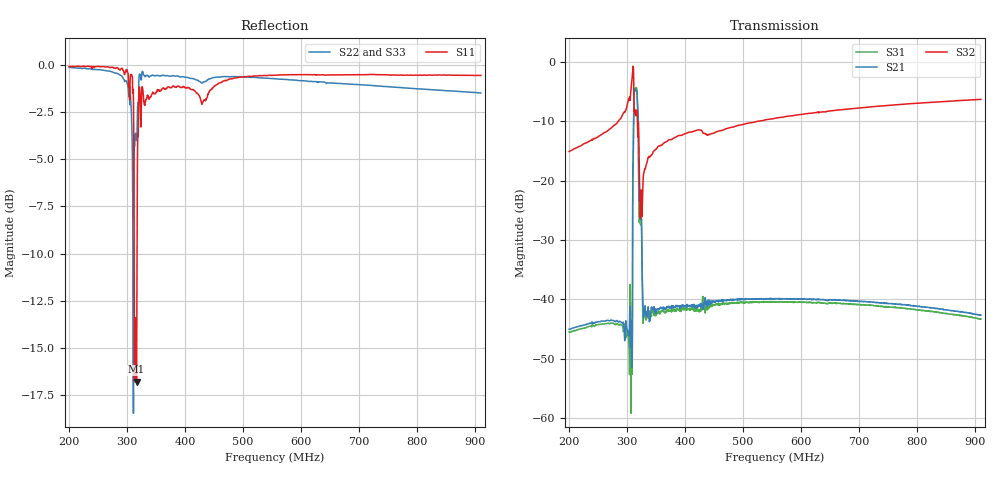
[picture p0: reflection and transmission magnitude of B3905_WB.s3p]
! Matrix data file written by TouchstoneData, EPCOS AG
! FILENAME: "LY09A.MB.s3p_newformat"
! COMMENT: "(LY09A.MB.s3p)"
! INFO: nport=3, nfreq=1601
! DATE: "Wed Sep  9 09:42:48 2009"
! USER: "Michael Schemies"
! port | pin | signal
!  1  |  2  |  in
!  2  |  4  |  out
!  3  |  6  |  out
# MHZ S MA R 50
! freq  magS11 angS11  magS12 angS12  magS13 angS13  ...
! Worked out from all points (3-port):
!   1601 points, 200 MHz to 910 MHz, reference 50 ohm
!   strongest paths, dB at 200 MHz, 377.5 MHz, 555 MHz, 732.5 MHz, 910 MHz:
!     S32: -15.1, -13.1, -9.5, -7.5, -6.3
!     S21: -45.0, -41.3, -39.9, -40.6, -42.7
!     S31: -45.5, -41.8, -40.4, -41.1, -43.3
!   lowest |S11| = -16.8 dB at 316.3 MHz (marker M1), VSWR 1.34, Z = 52.2 - j14.8 ohm
!   |S11| at or under -10 dB: 312.1 MHz to 317.1 MHz (4.982 MHz wide, 1.58 % of centre)
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200  0.9909 -46.9  0.005598 61.2  0.005288 61.8
     0.005605 61.2  0.9851 -18.5  0.1758 71.3
     0.005291 61.8  0.1756 71.3  0.9836 -18.4
279.875  0.9793 -73.5  0.006504 47.0  0.006133 47.9
         0.006513 47.0  0.9508 -28.7  0.2968 60.3
         0.006131 48.0  0.2965 60.3  0.9521 -28.6
305.6125  0.9351 -112.9  0.003925 143.1  0.009523 9.7
          0.003928 143.1  0.8269 -43.4  0.5106 42.9
          0.009522 9.7  0.5101 42.9  0.8267 -43.3
307.8313  0.9413 -133.6  0.002915 26.4  0.003015 19.0
          0.002918 26.4  0.7165 -54.5  0.6662 33.0
          0.003012 19.1  0.6655 33.0  0.7175 -54.3
313.1562  0.1582 -84.9  0.5859 52.6  0.5939 -128.6
          0.5866 52.6  0.6184 -6.3  0.3943 -20.5
          0.5938 -128.6  0.3939 -20.5  0.6063 -8.0
316.2625  0.1448 -73.2  0.5772 -119.8  0.6053 61.7
          0.5779 -119.8  0.6298 -8.3  0.3917 -21.5
          0.6052 61.7  0.3913 -21.6  0.6007 -5.3
322.475  0.8149 -17.4  0.06913 16.6  0.04638 -173.3
         0.06923 16.6  0.9411 -12.1  0.0502 -32.3
         0.04637 -173.2  0.05013 -32.2  0.9596 -12.0
330.4625  0.7806 -41.0  0.008085 62.4  0.007862 60.1
          0.008091 62.4  0.9328 -19.9  0.1259 43.9
          0.007857 60.1  0.1258 43.9  0.9328 -19.8
555  0.9391 -91.0  0.01006 35.5  0.009591 36.9
     0.01006 35.5  0.9187 -41.6  0.335 45.4
     0.009589 36.9  0.3348 45.4  0.922 -41.4
910  0.9375 -125.7  0.007361 16.7  0.006813 20.6
     0.007368 16.7  0.8425 -65.3  0.483 22.6
     0.006813 20.6  0.4826 22.6  0.8503 -64.2
